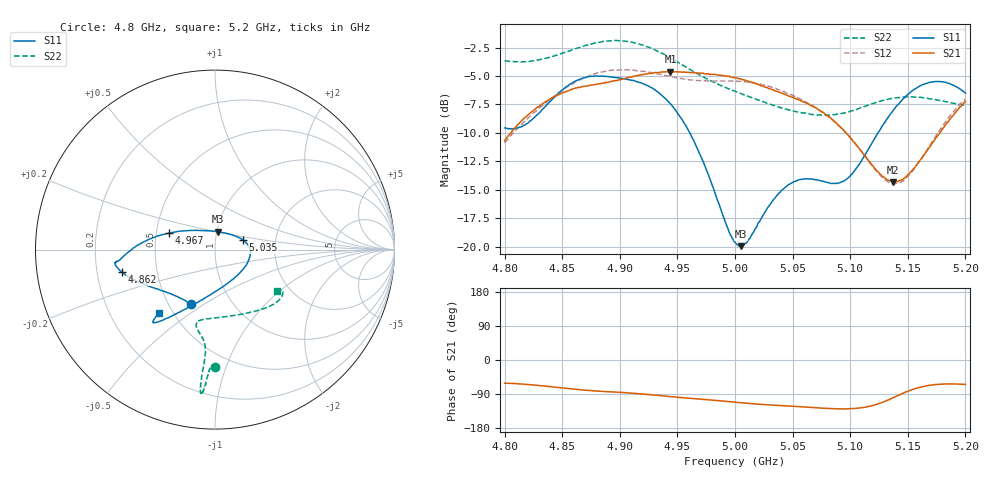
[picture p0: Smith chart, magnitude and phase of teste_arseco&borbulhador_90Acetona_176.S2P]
! Network Analyzer HP8722D
! Hewlett-Packard
! Data name: Linha & Wilkinson
! Saver's name: Rodrigo Anjos
! Comments: Teste da utilização de aquisição
! continua pelo VNA HP8722D
! Time and date: 17/4/2025 12:31
!  Frequency  S11  S21  S12  S22
# HZ  S  MA R 50
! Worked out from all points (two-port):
!   401 points, 4.8 GHz to 5.2 GHz, reference 50 ohm
!   highest |S21| = -4.61 dB at 4.944 GHz (marker M1); lowest = -14.3 dB at 5.137 GHz (marker M2)
!   |S21| within 3 dB of the highest: 4.831 GHz to 5.066 GHz (235.5 MHz wide, 4.76 % of centre); 5.196576 GHz to end of sweep (the widest 2 of 3)
!   lowest |S11| = -20.0 dB at 5.005 GHz (marker M3), VSWR 1.22, Z = 50.4 + j10.1 ohm
!   |S11| at or under -10 dB: 4.961 GHz to 5.124 GHz (163.4 MHz wide, 3.24 % of centre)
!   |S22| runs from -8.5 to -1.9 dB; largest |S21 - S12| = 0.88
!   S11 on the Smith chart (normalised r, x): 4.8 GHz: 0.64, -0.44; 4.862 GHz: 0.31, -0.11; 4.967 GHz: 0.58, +0.12; 5.035 GHz: 1.36, +0.15; 5.2 GHz: 0.42, -0.38
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4.8e9  0.3322 -114.1  0.2918 -61.1  0.286 -175.3  0.6559 -90.0
4.819e9  0.3467 -134.1  0.3734 -64.4  0.3614 -173.9  0.6512 -91.6
4.862e9  0.5354 -166.6  0.4983 -77.4  0.532 -177.2  0.7427 -93.9
4.867e9  0.5481 -168.5  0.5052 -78.8  0.5464 -178.1  0.7568 -94.0
4.899e9  0.5513 -173.1  0.54 -85.3  0.5985 175.2  0.8034 -95.6
4.934e9  0.474 -179.1  0.5822 -93.7  0.573 171.6  0.7177 -96.1
4.944e9  0.4237 176.1  0.5881 -96.7  0.5585 171.6  0.6751 -95.9
4.967e9  0.2727 160.2  0.5796 -102.5  0.5372 173.7  0.5766 -95.3
5e9  0.1044 98.8  0.5522 -111.3  0.5345 176.0  0.4809 -99.4
5.005e9  0.1004 81.9  0.5443 -112.7  0.532 175.9  0.4704 -100.7
5.012e9  0.1076 59.3  0.5313 -114.5  0.5278 175.6  0.4568 -102.2
5.035e9  0.164 19.4  0.4827 -119.5  0.4971 174.6  0.4154 -103.6
5.049e9  0.1899 5.0  0.4544 -121.9  0.4644 174.0  0.3964 -100.3
5.067e9  0.198 -14.1  0.4164 -125.2  0.4177 173.4  0.3809 -91.0
5.086e9  0.1896 -44.1  0.3558 -128.5  0.3546 173.6  0.3803 -76.6
5.097e9  0.1981 -66.9  0.3134 -128.9  0.3129 174.5  0.3893 -67.4
5.134e9  0.3764 -117.2  0.1949 -104.0  0.1911 -157.0  0.446 -43.1
5.137e9  0.3947 -119.1  0.1923 -100.0  0.1896 -152.2  0.449 -41.9
5.15e9  0.4663 -125.0  0.2065 -82.6  0.203 -132.1  0.4549 -36.9
5.168e9  0.5252 -129.3  0.2698 -67.4  0.2735 -113.6  0.4469 -32.4
5.184e9  0.5248 -130.9  0.3497 -63.2  0.3611 -107.5  0.433 -31.3
5.2e9  0.4731 -131.3  0.4343 -64.6  0.4456 -106.7  0.4162 -33.6
